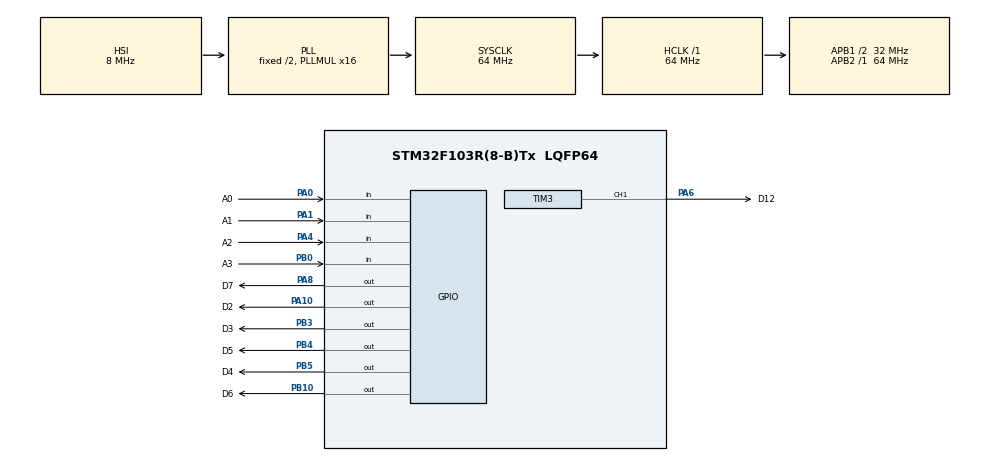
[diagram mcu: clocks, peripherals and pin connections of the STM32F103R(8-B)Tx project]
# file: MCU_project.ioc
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Mcu.Family=STM32F1
Mcu.Name=STM32F103R(8-B)Tx
Mcu.Package=LQFP64
NVIC.PriorityGroup=NVIC_PRIORITYGROUP_4
NVIC.TIM2_IRQn=true\:0\:0\:false\:false\:true\:true\:true
PA0-WKUP.GPIO_Label=A0
PA0-WKUP.GPIO_PuPd=GPIO_PULLUP
PA0-WKUP.Signal=GPIO_Input
PA1.GPIO_Label=A1
PA1.GPIO_PuPd=GPIO_PULLUP
PA1.Signal=GPIO_Input
PA10.GPIO_Label=D2
PA10.Signal=GPIO_Output
PA13.Mode=Serial_Wire
PA13.Signal=SYS_JTMS-SWDIO
PA14.Mode=Serial_Wire
PA14.Signal=SYS_JTCK-SWCLK
PA4.GPIO_Label=A2
PA4.GPIO_PuPd=GPIO_PULLUP
PA4.Signal=GPIO_Input
PA6.GPIO_Label=D12
PA6.Signal=S_TIM3_CH1
PA8.GPIO_Label=D7
PA8.Signal=GPIO_Output
PB0.GPIO_Label=A3
PB0.GPIO_PuPd=GPIO_PULLUP
PB0.Signal=GPIO_Input
PB10.GPIO_Label=D6
PB10.Signal=GPIO_Output
PB3.GPIO_Label=D3
PB3.Signal=GPIO_Output
PB4.GPIO_Label=D5
PB4.Signal=GPIO_Output
PB5.GPIO_Label=D4
PB5.Signal=GPIO_Output
ProjectManager.HeapSize=0x200
ProjectManager.StackSize=0x400
ProjectManager.TargetToolchain=STM32CubeIDE
RCC.AHBFreq_Value=64000000
RCC.APB1CLKDivider=RCC_HCLK_DIV2
RCC.APB1Freq_Value=32000000
RCC.APB1TimFreq_Value=64000000
RCC.APB2Freq_Value=64000000
RCC.APB2TimFreq_Value=64000000
RCC.HCLKFreq_Value=64000000
RCC.PLLMUL=RCC_PLL_MUL16
RCC.SYSCLKFreq_VALUE=64000000
RCC.SYSCLKSource=RCC_SYSCLKSOURCE_PLLCLK
RCC.USBFreq_Value=64000000
SH.S_TIM3_CH1.0=TIM3_CH1,PWM Generation1 CH1
TIM2.Period=10
TIM2.Prescaler=63999
TIM3.Channel-PWM\ Generation1\ CH1=TIM_CHANNEL_1
TIM3.Period=999
TIM3.Prescaler=63
VP_TIM2_VS_ClockSourceINT.Mode=Internal
VP_TIM3_VS_ClockSourceINT.Mode=Internal
board=custom

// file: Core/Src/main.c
/* USER CODE BEGIN Header */
/**
  ******************************************************************************
  * @file           : main.c
  * @brief          : Main program body
  ******************************************************************************
  * @attention
  *
  * <h2><center>&copy; Copyright (c) 2022 STMicroelectronics.
  * All rights reserved.</center></h2>
  *
  * This software component is licensed by ST under BSD 3-Clause license,
  * the "License"; You may not use this file except in compliance with the
  * License. You may obtain a copy of the License at:
  *                        opensource.org/licenses/BSD-3-Clause
  *
  ******************************************************************************
  */
/* USER CODE END Header */
#include "main.h"

/* USER CODE BEGIN Includes */
#include "button.h"
#include "timer.h"
#include "traffic_led.h"
#include "fsm_traffic.h"
#include "scheduler.h"
#include  "global.h"
#include "pedestrian.h"
#include "led_7_seg.h"
/* USER CODE END Includes */

TIM_HandleTypeDef htim2;
TIM_HandleTypeDef htim3;

void SystemClock_Config(void);
static void MX_GPIO_Init(void);
static void MX_TIM2_Init(void);
static void MX_TIM3_Init(void);

/* USER CODE BEGIN 0 */

void control_buzzer();
/* USER CODE END 0 */

int main(void)
{

  /* MCU Configuration--------------------------------------------------------*/

  /* Reset of all peripherals, Initializes the Flash interface and the Systick. */
  HAL_Init();

  /* Configure the system clock */
  SystemClock_Config();

  /* Initialize all configured peripherals */
  MX_GPIO_Init();
  MX_TIM2_Init();
  MX_TIM3_Init();
  /* USER CODE BEGIN 2 */
HAL_TIM_Base_Start_IT(&htim2);
HAL_TIM_PWM_Start(&htim3, TIM_CHANNEL_1);
  /* USER CODE END 2 */

  /* Infinite loop */
  /* USER CODE BEGIN WHILE */
mode = INIT_SYSTEM;

  while (1)
  {

	  fsm_for_button();
	  fsm_system_run();
	  fsm_pedestrian_run();
	 //control_buzzer();

//	for(int i = 800; i <= 1000 ; i+=50){
// 		  __HAL_TIM_SetCompare (&htim3,TIM_CHANNEL_1,1000);
//		  HAL_Delay(1000);
//	}
    /* USER CODE END WHILE */

  }
}

void SystemClock_Config(void)
{
  RCC_OscInitTypeDef RCC_OscInitStruct = {0};
  RCC_ClkInitTypeDef RCC_ClkInitStruct = {0};

  /** Initializes the RCC Oscillators according to the specified parameters
  * in the RCC_OscInitTypeDef structure.
  */
  RCC_OscInitStruct.OscillatorType = RCC_OSCILLATORTYPE_HSI;
  RCC_OscInitStruct.HSIState = RCC_HSI_ON;
  RCC_OscInitStruct.HSICalibrationValue = RCC_HSICALIBRATION_DEFAULT;
  RCC_OscInitStruct.PLL.PLLState = RCC_PLL_ON;
  RCC_OscInitStruct.PLL.PLLSource = RCC_PLLSOURCE_HSI_DIV2;
  RCC_OscInitStruct.PLL.PLLMUL = RCC_PLL_MUL16;
  if (HAL_RCC_OscConfig(&RCC_OscInitStruct) != HAL_OK)
  {
    Error_Handler();
  }
  /** Initializes the CPU, AHB and APB buses clocks
  */
  RCC_ClkInitStruct.ClockType = RCC_CLOCKTYPE_HCLK|RCC_CLOCKTYPE_SYSCLK
                              |RCC_CLOCKTYPE_PCLK1|RCC_CLOCKTYPE_PCLK2;
  RCC_ClkInitStruct.SYSCLKSource = RCC_SYSCLKSOURCE_PLLCLK;
  RCC_ClkInitStruct.AHBCLKDivider = RCC_SYSCLK_DIV1;
  RCC_ClkInitStruct.APB1CLKDivider = RCC_HCLK_DIV2;
  RCC_ClkInitStruct.APB2CLKDivider = RCC_HCLK_DIV1;

  if (HAL_RCC_ClockConfig(&RCC_ClkInitStruct, FLASH_LATENCY_2) != HAL_OK)
  {
    Error_Handler();
  }
}

static void MX_TIM2_Init(void)
{

  TIM_ClockConfigTypeDef sClockSourceConfig = {0};
  TIM_MasterConfigTypeDef sMasterConfig = {0};

  htim2.Instance = TIM2;
  htim2.Init.Prescaler = 63999;
  htim2.Init.CounterMode = TIM_COUNTERMODE_UP;
  htim2.Init.Period = 10;
  htim2.Init.ClockDivision = TIM_CLOCKDIVISION_DIV1;
  htim2.Init.AutoReloadPreload = TIM_AUTORELOAD_PRELOAD_DISABLE;
  if (HAL_TIM_Base_Init(&htim2) != HAL_OK)
  {
    Error_Handler();
  }
  sClockSourceConfig.ClockSource = TIM_CLOCKSOURCE_INTERNAL;
  if (HAL_TIM_ConfigClockSource(&htim2, &sClockSourceConfig) != HAL_OK)
  {
    Error_Handler();
  }
  sMasterConfig.MasterOutputTrigger = TIM_TRGO_RESET;
  sMasterConfig.MasterSlaveMode = TIM_MASTERSLAVEMODE_DISABLE;
  if (HAL_TIMEx_MasterConfigSynchronization(&htim2, &sMasterConfig) != HAL_OK)
  {
    Error_Handler();
  }

}

static void MX_TIM3_Init(void)
{

  TIM_ClockConfigTypeDef sClockSourceConfig = {0};
  TIM_MasterConfigTypeDef sMasterConfig = {0};
  TIM_OC_InitTypeDef sConfigOC = {0};

  htim3.Instance = TIM3;
  htim3.Init.Prescaler = 63;
  htim3.Init.CounterMode = TIM_COUNTERMODE_UP;
  htim3.Init.Period = 999;
  htim3.Init.ClockDivision = TIM_CLOCKDIVISION_DIV1;
  htim3.Init.AutoReloadPreload = TIM_AUTORELOAD_PRELOAD_DISABLE;
  if (HAL_TIM_Base_Init(&htim3) != HAL_OK)
  {
    Error_Handler();
  }
  sClockSourceConfig.ClockSource = TIM_CLOCKSOURCE_INTERNAL;
  if (HAL_TIM_ConfigClockSource(&htim3, &sClockSourceConfig) != HAL_OK)
  {
    Error_Handler();
  }
  if (HAL_TIM_PWM_Init(&htim3) != HAL_OK)
  {
    Error_Handler();
  }
  sMasterConfig.MasterOutputTrigger = TIM_TRGO_RESET;
  sMasterConfig.MasterSlaveMode = TIM_MASTERSLAVEMODE_DISABLE;
  if (HAL_TIMEx_MasterConfigSynchronization(&htim3, &sMasterConfig) != HAL_OK)
  {
    Error_Handler();
  }
  sConfigOC.OCMode = TIM_OCMODE_PWM1;
  sConfigOC.Pulse = 0;
  sConfigOC.OCPolarity = TIM_OCPOLARITY_HIGH;
  sConfigOC.OCFastMode = TIM_OCFAST_DISABLE;
  if (HAL_TIM_PWM_ConfigChannel(&htim3, &sConfigOC, TIM_CHANNEL_1) != HAL_OK)
  {
    Error_Handler();
  }
  HAL_TIM_MspPostInit(&htim3);

}

static void MX_GPIO_Init(void)
{
  GPIO_InitTypeDef GPIO_InitStruct = {0};

  /* GPIO Ports Clock Enable */
  __HAL_RCC_GPIOA_CLK_ENABLE();
  __HAL_RCC_GPIOB_CLK_ENABLE();

  /*Configure GPIO pin Output Level */
  HAL_GPIO_WritePin(GPIOB, D6_Pin|D3_Pin|D5_Pin|D4_Pin, GPIO_PIN_RESET);

  /*Configure GPIO pin Output Level */
  HAL_GPIO_WritePin(GPIOA, D7_Pin|D2_Pin, GPIO_PIN_RESET);

  /*Configure GPIO pins : A0_Pin A1_Pin A2_Pin */
  GPIO_InitStruct.Pin = A0_Pin|A1_Pin|A2_Pin;
  GPIO_InitStruct.Mode = GPIO_MODE_INPUT;
  GPIO_InitStruct.Pull = GPIO_PULLUP;
  HAL_GPIO_Init(GPIOA, &GPIO_InitStruct);

  /*Configure GPIO pin : A3_Pin */
  GPIO_InitStruct.Pin = A3_Pin;
  GPIO_InitStruct.Mode = GPIO_MODE_INPUT;
  GPIO_InitStruct.Pull = GPIO_PULLUP;
  HAL_GPIO_Init(A3_GPIO_Port, &GPIO_InitStruct);

  /*Configure GPIO pins : D6_Pin D3_Pin D5_Pin D4_Pin */
  GPIO_InitStruct.Pin = D6_Pin|D3_Pin|D5_Pin|D4_Pin;
  GPIO_InitStruct.Mode = GPIO_MODE_OUTPUT_PP;
  GPIO_InitStruct.Pull = GPIO_NOPULL;
  GPIO_InitStruct.Speed = GPIO_SPEED_FREQ_LOW;
  HAL_GPIO_Init(GPIOB, &GPIO_InitStruct);

  /*Configure GPIO pins : D7_Pin D2_Pin */
  GPIO_InitStruct.Pin = D7_Pin|D2_Pin;
  GPIO_InitStruct.Mode = GPIO_MODE_OUTPUT_PP;
  GPIO_InitStruct.Pull = GPIO_NOPULL;
  GPIO_InitStruct.Speed = GPIO_SPEED_FREQ_LOW;
  HAL_GPIO_Init(GPIOA, &GPIO_InitStruct);

}

/* USER CODE BEGIN 4 */
void HAL_TIM_PeriodElapsedCallback(TIM_HandleTypeDef *htim){
	timer_run();
	read_input();

}
int buffer = 0;
void control_buzzer(){
	if(buzzer_flag == 1){
		__HAL_TIM_SetCompare (&htim3,TIM_CHANNEL_1, 1000 - freq);
		if(is_timer_timeout(TIMER_BUZZER)){
			if(tik_tek){
				 buffer = freq;
				freq = 0;
				tik_tek = 0;
			}
			else{
				if(buffer <= 800) freq = buffer + 100;
				else  freq  = buffer;
				tik_tek = 1;
			}
			set_timer(TIMER_BUZZER, 500);
		}
	}
	else{
		buffer = 0;
		__HAL_TIM_SetCompare (&htim3,TIM_CHANNEL_1, 1000);
	}
}
/* USER CODE END 4 */

void Error_Handler(void)
{
  __disable_irq();
  while (1)
  {
  }
}

/************************ (C) COPYRIGHT STMicroelectronics *****END OF FILE****/
